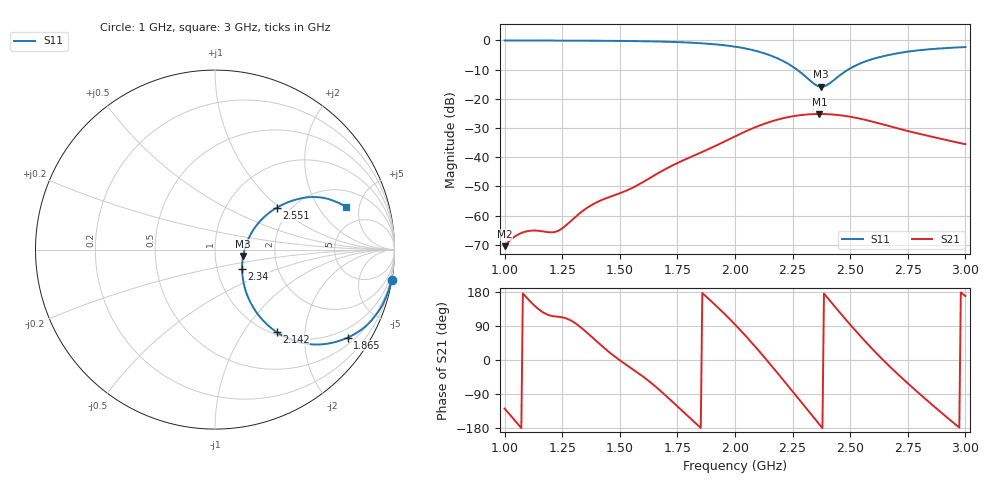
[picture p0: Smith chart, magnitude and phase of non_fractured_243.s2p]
! TOUCHSTONE file generated by CST MICROWAVE STUDIO
! Date and time: Sat Mar  8 13:55:44 2025
! Project name: non_fractured.cst
! Parameters = {B=2.5; D=160; F=5; Feed=2.85625; L=100; M=30; R=0.384908; S=1; Theta=180; length=57.125; wave=114.25}
! Header version: 2024
! Port assignment regex: !\s*Touchstone port\s*([0-9]+)\s*=\s*(CST MWS port|CST DES external port|CST DES block port)\s*(.+)\s* \(\"(.*)\"\)(\s*mode\s*([0-9]+))?.*
! Touchstone port assignment:
! Touchstone port 1 = CST MWS port 1 ("")
! Touchstone port 2 = CST MWS port 2 ("")
# GHz S DB R 50
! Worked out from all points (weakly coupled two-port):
!   304 points, 1 GHz to 3 GHz, reference 50 ohm
!   highest |S21| = -25.19 dB at 2.366 GHz (marker M1); lowest = -70.4 dB at 1 GHz (marker M2)
!   lowest |S11| = -15.9 dB at 2.373 GHz (marker M3), VSWR 1.38, Z = 68.4 - j4.88 ohm
!   |S11| at or under -10 dB: 2.269 GHz to 2.491 GHz (222.1 MHz wide, 9.33 % of centre)
!   S12 and S22 are empty: the file has one direction only
!   S11 on the Smith chart (normalised r, x): 1 GHz: 0, -12; 1.865 GHz: 0.69, -3.18; 2.142 GHz: 1.04, -1.43; 2.34 GHz: 1.32, -0.29; 2.551 GHz: 1.70, +0.96; 3 GHz: 3.17, +3.70
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1  -0.02 -9.8  -70.43 -128.3  -200.00 0.0  -200.00 0.0
1.0396  -0.02 -10.3  -67.39 -156.3  -200.00 0.0  -200.00 0.0
1.08581  -0.03 -10.9  -65.55 171.1  -200.00 0.0  -200.00 0.0
1.20462  -0.05 -12.8  -65.70 116.3  -200.00 0.0  -200.00 0.0
1.23102  -0.05 -13.2  -65.22 114.2  -200.00 0.0  -200.00 0.0
1.33663  -0.09 -15.2  -58.51 83.1  -200.00 0.0  -200.00 0.0
1.40924  -0.12 -16.7  -55.06 44.0  -200.00 0.0  -200.00 0.0
1.55446  -0.23 -20.5  -50.49 -23.6  -200.00 0.0  -200.00 0.0
1.66667  -0.38 -24.2  -45.43 -76.2  -200.00 0.0  -200.00 0.0
1.86469  -1.04 -33.6  -37.94 173.2  -200.00 0.0  -200.00 0.0
2.0033  -2.18 -42.8  -32.72 91.6  -200.00 0.0  -200.00 0.0
2.14191  -4.82 -53.2  -28.14 -3.2  -200.00 0.0  -200.00 0.0
2.24092  -8.50 -56.5  -26.10 -76.2  -200.00 0.0  -200.00 0.0
2.33993  -14.66 -35.3  -25.23 -150.4  -200.00 0.0  -200.00 0.0
2.36634  -15.80 -17.6  -25.19 -170.0  -200.00 0.0  -200.00 0.0
2.37294  -15.89 -12.5  -25.19 -174.9  -200.00 0.0  -200.00 0.0
2.39934  -15.30 6.8  -25.24 165.6  -200.00 0.0  -200.00 0.0
2.46535  -11.35 30.5  -25.71 117.7  -200.00 0.0  -200.00 0.0
2.55116  -7.64 34.2  -26.94 58.4  -200.00 0.0  -200.00 0.0
2.66997  -4.94 30.5  -29.34 -16.2  -200.00 0.0  -200.00 0.0
2.82838  -3.14 23.7  -32.50 -103.8  -200.00 0.0  -200.00 0.0
3  -2.27 18.0  -35.54 168.8  -200.00 0.0  -200.00 0.0
